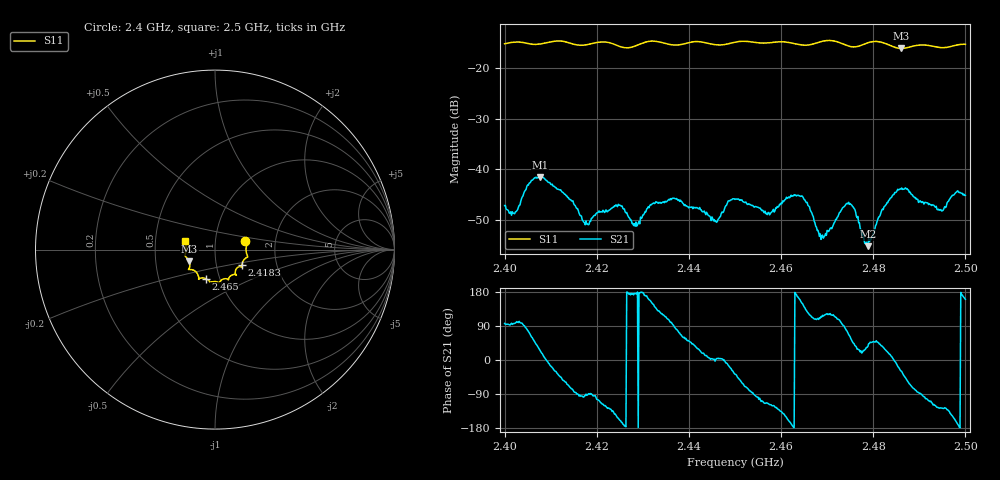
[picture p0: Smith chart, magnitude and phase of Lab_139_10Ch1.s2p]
# Hz S RI R 50
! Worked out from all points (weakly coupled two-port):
!   601 points, 2.4 GHz to 2.5 GHz, reference 50 ohm
!   highest |S21| = -41.60 dB at 2.4077 GHz (marker M1); lowest = -55.3 dB at 2.4788 GHz (marker M2)
!   lowest |S11| = -16.1 dB at 2.486 GHz (marker M3), VSWR 1.37, Z = 37.2 - j4.96 ohm
!   |S11| at or under -10 dB: start of sweep to end of sweep
!   S12 and S22 are empty: the file has one direction only
!   S11 on the Smith chart (normalised r, x): 2.4 GHz: 1.40, +0.13; 2.4183 GHz: 1.33, -0.24; 2.465 GHz: 0.86, -0.28; 2.5 GHz: 0.71, +0.07
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2.4e9  0.1688 0.0468  -0.00049 0.00433  0 0  0 0
2.402333e9  0.1782 0.0361  -0.000491 0.00373  0 0  0 0
2.405333e9  0.1746 0.0157  0.00221 0.00693  0 0  0 0
2.407667e9  0.1738 -0.0114  0.00745 0.00371  0 0  0 0
2.416667e9  0.1547 -0.0684  -0.000293 -0.00342  0 0  0 0
2.418333e9  0.1501 -0.087  6.52e-05 -0.00283  0 0  0 0
2.424667e9  0.1372 -0.0949  -0.004 -0.00201  0 0  0 0
2.4285e9  0.113 -0.1237  -0.00297 0.000276  0 0  0 0
2.433333e9  0.1176 -0.141  -0.00292 0.00353  0 0  0 0
2.437e9  0.0908 -0.1438  0.000447 0.00508  0 0  0 0
2.445833e9  0.0549 -0.1622  0.00306 7.93e-05  0 0  0 0
2.45e9  0.0262 -0.1799  0.00397 -0.00304  0 0  0 0
2.457167e9  -0.0109 -0.1781  -0.00155 -0.00336  0 0  0 0
2.465e9  -0.0525 -0.1613  -0.00384 0.00319  0 0  0 0
2.466667e9  -0.0712 -0.1576  -0.00144 0.00339  0 0  0 0
2.469167e9  -0.0895 -0.1633  -0.000903 0.00186  0 0  0 0
2.474833e9  -0.0995 -0.132  0.00194 0.00403  0 0  0 0
2.478833e9  -0.1407 -0.1109  0.00139 0.00101  0 0  0 0
2.483333e9  -0.141 -0.0968  0.00465 0.00151  0 0  0 0
2.486e9  -0.1431 -0.0651  0.00555 -0.00307  0 0  0 0
2.4945e9  -0.1606 -0.00284  -0.00234 -0.00319  0 0  0 0
2.5e9  -0.1665 0.0468  -0.00517 0.00185  0 0  0 0
